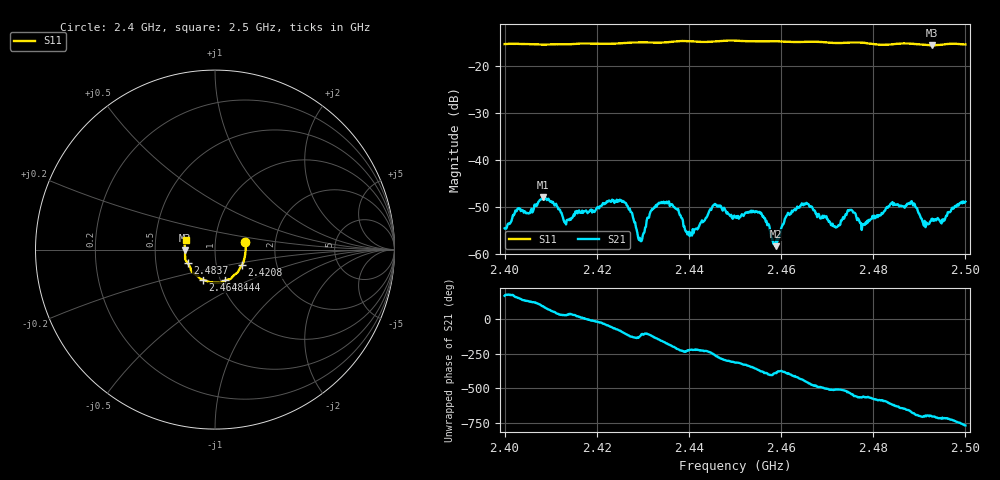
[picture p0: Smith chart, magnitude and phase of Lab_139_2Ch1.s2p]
# Hz S RI R 50
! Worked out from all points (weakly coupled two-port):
!   601 points, 2.4 GHz to 2.5 GHz, reference 50 ohm
!   highest |S21| = -48.03 dB at 2.4083 GHz (marker M1); lowest = -58.4 dB at 2.4588 GHz (marker M2)
!   lowest |S11| = -15.6 dB at 2.4928 GHz (marker M3), VSWR 1.40, Z = 35.7 - j0.297 ohm
!   |S11| at or under -10 dB: start of sweep to end of sweep
!   S12 and S22 are empty: the file has one direction only
!   S11 on the Smith chart (normalised r, x): 2.4 GHz: 1.39, +0.12; 2.4208 GHz: 1.33, -0.24; 2.444 GHz: 1.05, -0.37; 2.4648 GHz: 0.83, -0.29; 2.4837 GHz: 0.73, -0.11; 2.5 GHz: 0.72, +0.08
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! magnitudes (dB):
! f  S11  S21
! 2.4 GHz  -15.3  -54.6
! 2.4083 GHz  -15.4  -48.0
! 2.4133 GHz  -15.4  -53.8
! 2.4167 GHz  -15.2  -51.3
! 2.4208 GHz  -15.2  -49.8
! 2.4262 GHz  -15.1  -49.2
! 2.4295 GHz  -14.9  -57.3
! 2.4333 GHz  -15.0  -49.5
! 2.4372 GHz  -14.7  -50.5
! 2.4402 GHz  -14.7  -56.3
! 2.444 GHz  -14.9  -52.0
! 2.45 GHz  -14.6  -52.3
! 2.4553 GHz  -14.7  -51.1
! 2.4588 GHz  -14.7  -58.4
! 2.4612 GHz  -14.8  -51.9
! 2.4648 GHz  -14.9  -49.7
! 2.4667 GHz  -14.8  -50.0
! 2.4718 GHz  -15.1  -54.5
! 2.4833 GHz  -15.4  -49.9
! 2.4837 GHz  -15.4  -49.5
! 2.4928 GHz  -15.6  -52.6
! 2.5 GHz  -15.4  -48.9
